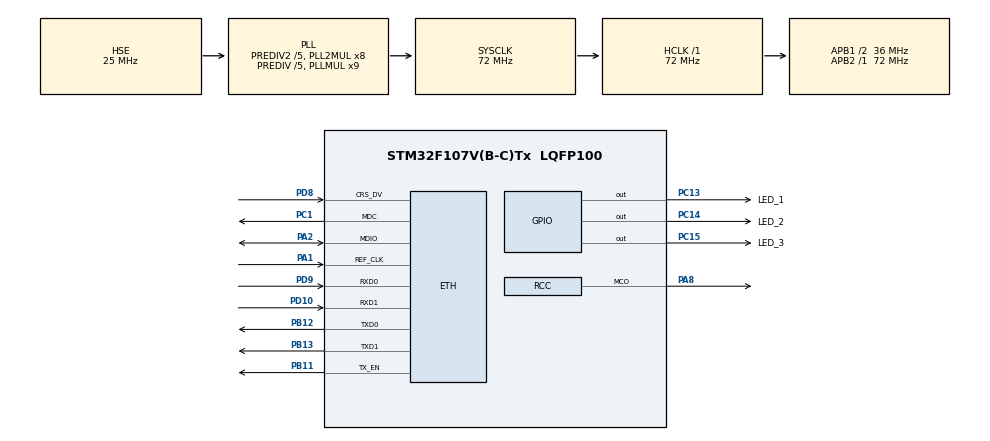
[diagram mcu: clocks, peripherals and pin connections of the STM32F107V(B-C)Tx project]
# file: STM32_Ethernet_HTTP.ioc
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ETH.MediaInterface=ETH_MEDIA_INTERFACE_RMII
ETH.PHY_Name_RMII=DP83848_PHY_ADDRESS
LWIP.GATEWAY_ADDRESS=192.168.031.001
LWIP.IP_ADDRESS=192.168.031.201
LWIP.LWIP_DHCP=0
LWIP.LWIP_HTTPD=1
LWIP.LWIP_HTTPD_CGI=1
LWIP.NETMASK_ADDRESS=255.255.255.000
LWIP.Version=v2.0.3_Cube
Mcu.Family=STM32F1
Mcu.Name=STM32F107V(B-C)Tx
Mcu.Package=LQFP100
NVIC.ETH_IRQn=true\:0\:0\:false\:false\:true\:true\:true\:true
NVIC.PriorityGroup=NVIC_PRIORITYGROUP_4
OSC_IN.Mode=HSE-External-Oscillator
OSC_IN.Signal=RCC_OSC_IN
OSC_OUT.Mode=HSE-External-Oscillator
OSC_OUT.Signal=RCC_OSC_OUT
PA1.Mode=RMII
PA1.Signal=ETH_REF_CLK
PA13.Mode=Serial_Wire
PA13.Signal=SYS_JTMS-SWDIO
PA14.Mode=Serial_Wire
PA14.Signal=SYS_JTCK-SWCLK
PA2.Mode=RMII
PA2.Signal=ETH_MDIO
PA8.GPIO_Speed=GPIO_SPEED_FREQ_MEDIUM
PA8.Mode=Clock-out
PA8.Signal=RCC_MCO
PB11.Mode=RMII
PB11.Signal=ETH_TX_EN
PB12.Mode=RMII
PB12.Signal=ETH_TXD0
PB13.Mode=RMII
PB13.Signal=ETH_TXD1
PC1.Mode=RMII
PC1.Signal=ETH_MDC
PC13-TAMPER-RTC.GPIO_Label=LED_1
PC13-TAMPER-RTC.Signal=GPIO_Output
PC14-OSC32_IN.GPIO_Label=LED_2
PC14-OSC32_IN.Signal=GPIO_Output
PC15-OSC32_OUT.GPIO_Label=LED_3
PC15-OSC32_OUT.Signal=GPIO_Output
PD10.Mode=RMII
PD10.Signal=ETH_RXD1
PD8.Mode=RMII
PD8.Signal=ETH_CRS_DV
PD9.Mode=RMII
PD9.Signal=ETH_RXD0
ProjectManager.HeapSize=0x200
ProjectManager.StackSize=0x400
ProjectManager.TargetToolchain=STM32CubeIDE
RCC.AHBFreq_Value=72000000
RCC.APB1CLKDivider=RCC_HCLK_DIV2
RCC.APB1Freq_Value=36000000
RCC.APB1TimFreq_Value=72000000
RCC.APB2Freq_Value=72000000
RCC.APB2TimFreq_Value=72000000
RCC.HCLKFreq_Value=72000000
RCC.HSEDivPLL=RCC_HSE_PREDIV_DIV5
RCC.HSE_VALUE=25000000
RCC.PLL3Mul=RCC_PLLI2S_MUL10
RCC.PLLMUL=RCC_PLL_MUL9
RCC.PLLSourceVirtual=RCC_PLLSOURCE_HSE
RCC.Prediv1Source=RCC_PREDIV1_SOURCE_PLL2
RCC.Prediv2=RCC_HSE_PREDIV2_DIV5
RCC.RCC_MCOSource=RCC_MCO1SOURCE_PLL3CLK
RCC.SYSCLKFreq_VALUE=72000000
RCC.SYSCLKSource=RCC_SYSCLKSOURCE_PLLCLK
RCC.USBFreq_Value=48000000
VP_LWIP_VS_Enabled.Mode=Enabled
board=custom

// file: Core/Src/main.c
/* USER CODE BEGIN Header */
/**
  ******************************************************************************
  * @file           : main.c
  * @brief          : Main program body
  ******************************************************************************
  * @attention
  *
  * Copyright (c) 2024 STMicroelectronics.
  * All rights reserved.
  *
  * This software is licensed under terms that can be found in the LICENSE file
  * in the root directory of this software component.
  * If no LICENSE file comes with this software, it is provided AS-IS.
  *
  ******************************************************************************
  */
/* USER CODE END Header */
#include "main.h"
#include "lwip.h"

/* USER CODE BEGIN Includes */
#include <string.h>
#include "lwip/apps/httpd.h"
/* USER CODE END Includes */

/* USER CODE BEGIN PV */
int GreenLED = 0;
int BlueLED  = 0;
int RedLED   = 0;
/* USER CODE END PV */

void SystemClock_Config(void);
static void MX_GPIO_Init(void);
/* USER CODE BEGIN PFP */
const char *LedControlCgiHandler(int iIndex, int iNumParams, char *pcParam[], char *pcValue[]);
/* USER CODE END PFP */

int main(void)
{

  /* USER CODE BEGIN 1 */
	tCGI LED_CGI = { "/LEDControl.cgi", LedControlCgiHandler };
  /* USER CODE END 1 */

  /* MCU Configuration--------------------------------------------------------*/

  /* Reset of all peripherals, Initializes the Flash interface and the Systick. */
  HAL_Init();

  /* Configure the system clock */
  SystemClock_Config();

  /* Initialize all configured peripherals */
  MX_GPIO_Init();
  MX_LWIP_Init();
  /* USER CODE BEGIN 2 */
  httpd_init();
  http_set_cgi_handlers(&LED_CGI, 1);
  /* USER CODE END 2 */

  /* Infinite loop */
  /* USER CODE BEGIN WHILE */
  while (1)
  {
	  MX_LWIP_Process();

	  HAL_GPIO_WritePin(LED_1_GPIO_Port, LED_1_Pin, GreenLED );     //Green LED
	  HAL_GPIO_WritePin(LED_2_GPIO_Port, LED_2_Pin, BlueLED );      //Blue LED
	  HAL_GPIO_WritePin(LED_3_GPIO_Port, LED_3_Pin, RedLED );      //Red LED
    /* USER CODE END WHILE */

  }
}

void SystemClock_Config(void)
{
  RCC_OscInitTypeDef RCC_OscInitStruct = {0};
  RCC_ClkInitTypeDef RCC_ClkInitStruct = {0};

  /** Initializes the RCC Oscillators according to the specified parameters
  * in the RCC_OscInitTypeDef structure.
  */
  RCC_OscInitStruct.OscillatorType = RCC_OSCILLATORTYPE_HSE;
  RCC_OscInitStruct.HSEState = RCC_HSE_ON;
  RCC_OscInitStruct.HSEPredivValue = RCC_HSE_PREDIV_DIV5;
  RCC_OscInitStruct.HSIState = RCC_HSI_ON;
  RCC_OscInitStruct.Prediv1Source = RCC_PREDIV1_SOURCE_PLL2;
  RCC_OscInitStruct.PLL.PLLState = RCC_PLL_ON;
  RCC_OscInitStruct.PLL.PLLSource = RCC_PLLSOURCE_HSE;
  RCC_OscInitStruct.PLL.PLLMUL = RCC_PLL_MUL9;
  RCC_OscInitStruct.PLL2.PLL2State = RCC_PLL2_ON;
  RCC_OscInitStruct.PLL2.PLL2MUL = RCC_PLL2_MUL8;
  RCC_OscInitStruct.PLL2.HSEPrediv2Value = RCC_HSE_PREDIV2_DIV5;
  if (HAL_RCC_OscConfig(&RCC_OscInitStruct) != HAL_OK)
  {
    Error_Handler();
  }

  /** Initializes the CPU, AHB and APB buses clocks
  */
  RCC_ClkInitStruct.ClockType = RCC_CLOCKTYPE_HCLK|RCC_CLOCKTYPE_SYSCLK
                              |RCC_CLOCKTYPE_PCLK1|RCC_CLOCKTYPE_PCLK2;
  RCC_ClkInitStruct.SYSCLKSource = RCC_SYSCLKSOURCE_PLLCLK;
  RCC_ClkInitStruct.AHBCLKDivider = RCC_SYSCLK_DIV1;
  RCC_ClkInitStruct.APB1CLKDivider = RCC_HCLK_DIV2;
  RCC_ClkInitStruct.APB2CLKDivider = RCC_HCLK_DIV1;

  if (HAL_RCC_ClockConfig(&RCC_ClkInitStruct, FLASH_LATENCY_2) != HAL_OK)
  {
    Error_Handler();
  }
  HAL_RCC_MCOConfig(RCC_MCO, RCC_MCO1SOURCE_PLL3CLK, RCC_MCODIV_1);

  /** Configure the Systick interrupt time
  */
  __HAL_RCC_HSE_PREDIV2_CONFIG(RCC_HSE_PREDIV2_DIV5);

  /** Configure the Systick interrupt time
  */
  __HAL_RCC_PLLI2S_CONFIG(RCC_PLLI2S_MUL10);

  /** Configure the Systick interrupt time
  */
  __HAL_RCC_PLLI2S_ENABLE();
}

static void MX_GPIO_Init(void)
{
  GPIO_InitTypeDef GPIO_InitStruct = {0};

  /* GPIO Ports Clock Enable */
  __HAL_RCC_GPIOC_CLK_ENABLE();
  __HAL_RCC_GPIOA_CLK_ENABLE();
  __HAL_RCC_GPIOB_CLK_ENABLE();
  __HAL_RCC_GPIOD_CLK_ENABLE();

  /*Configure GPIO pin Output Level */
  HAL_GPIO_WritePin(GPIOC, LED_1_Pin|LED_2_Pin|LED_3_Pin, GPIO_PIN_RESET);

  /*Configure GPIO pins : LED_1_Pin LED_2_Pin LED_3_Pin */
  GPIO_InitStruct.Pin = LED_1_Pin|LED_2_Pin|LED_3_Pin;
  GPIO_InitStruct.Mode = GPIO_MODE_OUTPUT_PP;
  GPIO_InitStruct.Pull = GPIO_NOPULL;
  GPIO_InitStruct.Speed = GPIO_SPEED_FREQ_LOW;
  HAL_GPIO_Init(GPIOC, &GPIO_InitStruct);

  /*Configure GPIO pin : PA8 */
  GPIO_InitStruct.Pin = GPIO_PIN_8;
  GPIO_InitStruct.Mode = GPIO_MODE_AF_PP;
  GPIO_InitStruct.Speed = GPIO_SPEED_FREQ_MEDIUM;
  HAL_GPIO_Init(GPIOA, &GPIO_InitStruct);

}

/* USER CODE BEGIN 4 */
const char *LedControlCgiHandler(int index, int numParams, char *pcParam[], char *pcValue[])
{
  if(index == 0)
  {
    for(int i=0; i < numParams; i++)
    {
      if(strcmp(pcParam[i], "green") == 0)
      {
        if(strcmp(pcValue[i], "ON") == 0)
        {
          GreenLED = 1;
        }
        else
        {
          GreenLED = 0;
        }
      }
      else if(strcmp(pcParam[i], "blue") == 0)
      {
        if(strcmp(pcValue[i], "ON") == 0)
        {
          BlueLED = 1;
        }
        else
        {
          BlueLED = 0;
        }
      }
      else if(strcmp(pcParam[i], "red") == 0)
      {
        if(strcmp(pcValue[i], "ON") == 0)
        {
          RedLED = 1;
        }
        else
        {
          RedLED = 0;
        }
      }
    }
  }
  return "/index.html";
}
/* USER CODE END 4 */

void Error_Handler(void)
{
  __disable_irq();
  while (1)
  {
  }
}
